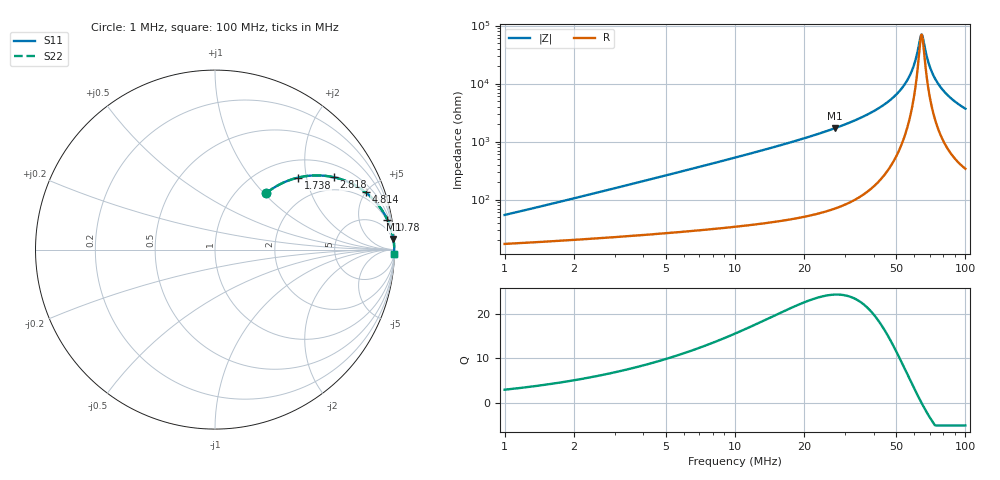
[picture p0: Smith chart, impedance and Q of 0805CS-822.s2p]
# MHz S MA R 50
!Freq  MagS11  AngS11  MagS21  AngS21  MagS12  AngS12  MagS22  AngS22
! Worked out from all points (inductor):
!   801 points, 1 MHz to 100 MHz, reference 50 ohm
!   read as one part in series: L = 8.2 uH near 1.023 MHz
!   highest Q = 24.3 at 27.07 MHz (marker M1), where L = 9.94 uH
!   self-resonance near 64.57 MHz
!   S11 on the Smith chart (normalised r, x): 1 MHz: 1.34, +1.03; 1.738 MHz: 1.39, +1.79; 2.818 MHz: 1.44, +2.91; 4.814 MHz: 1.52, +4.99; 10.78 MHz: 2, +11; 100 MHz: 8, -73
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1  0.4243 47.8  0.781 -23.7  0.781 -23.7  0.4243 47.8
1.737801  0.6139 40.9  0.6695 -36.9  0.6695 -36.9  0.6139 40.9
2.818383  0.7747 31.4  0.5264 -50.0  0.5264 -50.0  0.7747 31.4
4.813933  0.8974 20.9  0.3579 -63.2  0.3579 -63.2  0.8974 20.9
7.161434  0.9476 14.6  0.2529 -70.8  0.2529 -70.8  0.9476 14.6
10.77705  0.975 9.8  0.1704 -76.7  0.1704 -76.7  0.975 9.8
17.57924  0.9901 5.8  0.1011 -81.5  0.1011 -81.5  0.9901 5.8
27.07073  0.9959 3.4  0.05882 -84.3  0.05882 -84.3  0.9959 3.4
34.08003  0.9974 2.3  0.04097 -85.2  0.04097 -85.2  0.9974 2.3
50.69907  0.9986 0.8  0.01471 -84.0  0.01471 -84.0  0.9986 0.8
54.95409  0.9986 0.6  0.009811 -81.7  0.009811 -81.7  0.9986 0.6
58.21032  0.9986 0.4  0.006383 -77.5  0.006383 -77.5  0.9986 0.4
60.25596  0.9986 0.2  0.00438 -71.6  0.00438 -71.6  0.9986 0.2
63.09573  0.9986 0.1  0.00198 -44.9  0.00198 -44.9  0.9986 0.1
64.19482  0.9986 0.0  0.001463 -14.4  0.001463 -14.4  0.9986 0.0
65.31306  0.9986 -0.0  0.001585 25.0  0.001585 25.0  0.9986 -0.0
67.22023  0.9985 -0.1  0.002811 58.4  0.002811 58.4  0.9985 -0.1
69.9842  0.9985 -0.3  0.00505 72.2  0.00505 72.2  0.9985 -0.3
73.28245  0.9984 -0.4  0.007753 77.7  0.007753 77.7  0.9984 -0.4
77.62471  0.9982 -0.6  0.0112 80.6  0.0112 80.6  0.9982 -0.6
83.65656  0.998 -0.9  0.01577 82.2  0.01577 82.2  0.998 -0.9
100  0.9971 -1.5  0.02708 83.2  0.02708 83.2  0.9971 -1.5
